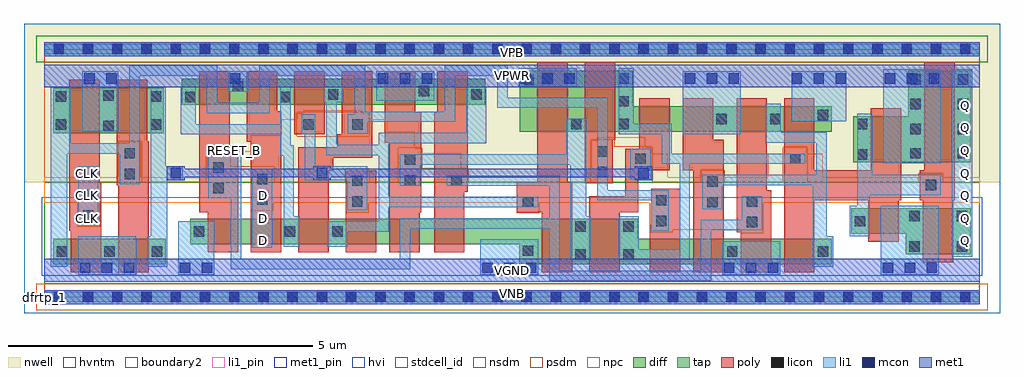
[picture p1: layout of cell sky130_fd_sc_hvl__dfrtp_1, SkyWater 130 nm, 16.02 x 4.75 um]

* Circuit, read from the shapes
.subckt sky130_fd_sc_hvl__dfrtp_1 CLK D Q RESET_B VGND VNB VPB VPWR
XM1 VGND CLK n1 VNB sky130_fd_pr__nfet_g5v0d10v5 w=0.42 l=0.5
XM2 n2 n1 VGND VNB sky130_fd_pr__nfet_g5v0d10v5 w=0.42 l=0.5
XM3 n3 RESET_B VGND VNB sky130_fd_pr__nfet_g5v0d10v5 w=0.42 l=0.5
XM4 n4 D n3 VNB sky130_fd_pr__nfet_g5v0d10v5 w=0.42 l=0.5
XM5 n5 n1 n4 VNB sky130_fd_pr__nfet_g5v0d10v5 w=0.42 l=0.5
XM6 n6 n2 n5 VNB sky130_fd_pr__nfet_g5v0d10v5 w=0.42 l=0.5
XM7 n7 n8 n6 VNB sky130_fd_pr__nfet_g5v0d10v5 w=0.42 l=0.5
XM8 VGND RESET_B n7 VNB sky130_fd_pr__nfet_g5v0d10v5 w=0.42 l=0.5
XM9 n8 n5 VGND VNB sky130_fd_pr__nfet_g5v0d10v5 w=0.75 l=0.5
XM10 n9 n2 n8 VNB sky130_fd_pr__nfet_g5v0d10v5 w=0.75 l=0.5
XM11 n10 n1 n9 VNB sky130_fd_pr__nfet_g5v0d10v5 w=0.42 l=0.5
XM12 VGND n11 n10 VNB sky130_fd_pr__nfet_g5v0d10v5 w=0.42 l=0.5
XM13 n12 RESET_B VGND VNB sky130_fd_pr__nfet_g5v0d10v5 w=0.42 l=0.5
XM14 n11 n9 n12 VNB sky130_fd_pr__nfet_g5v0d10v5 w=0.42 l=0.5
XM15 VGND n9 n13 VNB sky130_fd_pr__nfet_g5v0d10v5 w=0.42 l=0.5
XM16 Q n13 VGND VNB sky130_fd_pr__nfet_g5v0d10v5 w=0.75 l=0.5
XM17 VPWR CLK n1 VPB sky130_fd_pr__pfet_g5v0d10v5 w=0.75 l=0.5
XM18 n2 n1 VPWR VPB sky130_fd_pr__pfet_g5v0d10v5 w=0.75 l=0.5
XM19 VPWR RESET_B n4 VPB sky130_fd_pr__pfet_g5v0d10v5 w=0.42 l=0.5
XM20 n4 D VPWR VPB sky130_fd_pr__pfet_g5v0d10v5 w=0.42 l=0.5
XM21 n5 n2 n4 VPB sky130_fd_pr__pfet_g5v0d10v5 w=0.42 l=0.5
XM22 n14 n1 n5 VPB sky130_fd_pr__pfet_g5v0d10v5 w=0.42 l=0.5
XM23 VPWR n8 n14 VPB sky130_fd_pr__pfet_g5v0d10v5 w=0.42 l=0.5
XM24 n5 RESET_B VPWR VPB sky130_fd_pr__pfet_g5v0d10v5 w=0.42 l=0.5
XM25 n8 n5 VPWR VPB sky130_fd_pr__pfet_g5v0d10v5 w=1 l=0.5
XM26 n9 n1 n8 VPB sky130_fd_pr__pfet_g5v0d10v5 w=1 l=0.5
XM27 n15 n2 n9 VPB sky130_fd_pr__pfet_g5v0d10v5 w=0.42 l=0.5
XM28 VPWR n11 n15 VPB sky130_fd_pr__pfet_g5v0d10v5 w=0.42 l=0.5
XM29 n11 RESET_B VPWR VPB sky130_fd_pr__pfet_g5v0d10v5 w=0.42 l=0.5
XM30 VPWR n9 n11 VPB sky130_fd_pr__pfet_g5v0d10v5 w=0.42 l=0.5
XM31 VPWR n9 n13 VPB sky130_fd_pr__pfet_g5v0d10v5 w=0.75 l=0.5
XM32 Q n13 VPWR VPB sky130_fd_pr__pfet_g5v0d10v5 w=1.5 l=0.5
.ends

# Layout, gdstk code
import gdstk
lib = gdstk.Library(unit=1e-6, precision=1e-09)
def R(c, l, rs):  # rectangles x0, y0, x1, y1
    for r in rs: c.add(gdstk.rectangle(r[:2], r[2:], *l))
def A(c, l, x, y, w, h, nx, ny, dx, dy):  # array of equal rectangles
    R(c, l, [(x+i*dx, y+j*dy, x+i*dx+w, y+j*dy+h) for i in range(nx) for j in range(ny)])
def P(c, l, *ps):  # polygons
    for p in ps: c.add(gdstk.Polygon(p, *l))
nwell = (64, 20)
diff = (65, 20)
tap = (65, 44)
poly = (66, 20)
licon = (66, 44)
li1_pin = (67, 16)
li1 = (67, 20)
mcon = (67, 44)
met1_pin = (68, 16)
met1 = (68, 20)
hvi = (75, 20)
stdcell_id = (81, 4)
nsdm = (93, 44)
psdm = (94, 20)
npc = (95, 20)
hvntm = (125, 20)
boundary2 = (236, 0)

sky130_fd_sc_hvl__dfrtp_ = lib.new_cell('sky130_fd_sc_hvl__dfrtp_1')
R(sky130_fd_sc_hvl__dfrtp_, nwell, [(-0.33,1.885,15.69,4.485)])
R(sky130_fd_sc_hvl__dfrtp_, diff, [(0.15,0.535,2,0.955), (0.15,2.685,1.96,3.435), (2.26,3.16,7.24,3.58)])
P(sky130_fd_sc_hvl__dfrtp_, diff, [(7.81,2.715),(7.81,3.715),(9.66,3.715),(9.66,3.135),(12.93,3.135),(12.93,2.715)],
  [(7.8,0.535),(7.8,0.865),(2.4,0.865),(2.4,1.285),(9.74,1.285),(9.74,0.955),(12.93,0.955),(12.93,0.535)],
  [(13.285,2.215),(13.285,2.965),(14.18,2.965),(14.18,3.715),(15.21,3.715),(15.21,2.215)],
  [(14.14,0.705),(14.14,1.035),(13.245,1.035),(13.245,1.455),(15.21,1.455),(15.21,0.705)])
R(sky130_fd_sc_hvl__dfrtp_, tap, [(0,-0.085,15.36,0.085), (0,3.985,15.36,4.155)])
R(sky130_fd_sc_hvl__dfrtp_, poly, [(4.955,0.735,5.455,2.075), (4.105,2.67,4.605,3.71)])
P(sky130_fd_sc_hvl__dfrtp_, poly, [(0.435,0.405),(0.435,1.085),(0.415,1.085),(0.415,3.565),(0.915,3.565),(0.915,1.865),(0.935,1.865),(0.935,0.405)],
  [(1.215,0.405),(1.215,1.835),(1.195,1.835),(1.195,3.565),(1.695,3.565),(1.695,2.555),(1.715,2.555),(1.715,0.405)],
  [(2.685,0.735),(2.685,1.395),(2.545,1.395),(2.545,3.71),(3.045,3.71),(3.045,2.31),(3.185,2.31),(3.185,0.735)],
  [(3.395,0.735),(3.395,2.55),(3.325,2.55),(3.325,3.71),(3.825,3.71),(3.825,3.05),(3.895,3.05),(3.895,0.735)],
  [(4.175,0.735),(4.175,2.46),(4.815,2.46),(4.815,2.67),(4.885,2.67),(4.885,3.71),(5.385,3.71),(5.385,2.285),(4.745,2.285),(4.745,2.075),(4.675,2.075),(4.675,0.735)],
  [(5.665,0.735),(5.665,2.53),(5.595,2.53),(5.595,3.71),(6.095,3.71),(6.095,3.03),(6.19,3.03),(6.19,1.395),(6.165,1.395),(6.165,0.735)],
  [(6.4,0.735),(6.4,3.03),(6.455,3.03),(6.455,3.71),(6.955,3.71),(6.955,1.725),(6.9,1.725),(6.9,0.735)],
  [(8.165,0.405),(8.165,1.395),(7.76,1.395),(7.76,1.895),(8.095,1.895),(8.095,3.845),(8.595,3.845),(8.595,1.895),(8.665,1.895),(8.665,0.405)],
  [(8.875,1.865),(8.875,3.845),(9.375,3.845),(9.375,2.585),(9.33,2.585),(9.33,1.865)],
  [(8.945,0.405),(8.945,1.655),(9.54,1.655),(9.54,2.435),(9.77,2.435),(9.77,3.265),(10.27,3.265),(10.27,2.085),(9.755,2.085),(9.755,1.395),(9.445,1.395),(9.445,0.405)],
  [(9.945,0.405),(9.945,1.185),(9.965,1.185),(9.965,1.775),(10.445,1.775),(10.445,0.405)],
  [(10.655,0.405),(10.655,2.085),(10.48,2.085),(10.48,3.265),(10.98,3.265),(10.98,2.585),(11.155,2.585),(11.155,0.405)],
  [(11.435,0.405),(11.435,1.065),(11.365,1.065),(11.365,3.265),(11.865,3.265),(11.865,1.755),(11.935,1.755),(11.935,0.405)],
  [(12.145,0.405),(12.145,3.265),(12.645,3.265),(12.645,2.085),(13.57,2.085),(13.57,3.095),(14.07,3.095),(14.07,1.585),(14.03,1.585),(14.03,0.905),(13.53,0.905),(13.53,1.585),(12.645,1.585),(12.645,0.405)],
  [(14.425,0.575),(14.425,1.585),(14.37,1.585),(14.37,2.085),(14.445,2.085),(14.445,3.845),(14.945,3.845),(14.945,1.585),(14.925,1.585),(14.925,0.575)])
A(sky130_fd_sc_hvl__dfrtp_, licon, 0.155, -0.085, 0.17, 0.17, 32, 2, 0.48, 4.07)
A(sky130_fd_sc_hvl__dfrtp_, licon, 0.21, 0.66, 0.17, 0.17, 3, 1, 0.78, 0)
A(sky130_fd_sc_hvl__dfrtp_, licon, 9.43, 2.755, 0.17, 0.17, 1, 3, 0, 0.375)
R(sky130_fd_sc_hvl__dfrtp_, licon, [(8.72,0.615,8.89,0.785), (9.51,0.615,9.68,0.785), (11.21,0.66,11.38,0.83), (12.7,0.66,12.87,0.83), (7.86,0.675,8.03,0.845), (14.2,0.745,14.37,0.915), (14.98,0.745,15.15,0.915), (2.46,0.99,2.63,1.16), (3.95,0.99,4.12,1.16), (4.73,0.99,4.9,1.16), (8.72,1.075,8.89,1.245), (9.51,1.075,9.68,1.245), (11.535,1.145,11.705,1.315), (13.305,1.16,13.475,1.33), (10.045,1.165,10.215,1.335), (14.2,1.245,14.37,1.415), (14.98,1.245,15.15,1.415), (0.64,1.255,0.81,1.425), (10.885,1.47,11.055,1.64), (7.86,1.475,8.03,1.645), (5.055,1.485,5.225,1.655), (11.535,1.485,11.705,1.655), (10.045,1.505,10.215,1.675), (3.495,1.515,3.665,1.685), (0.64,1.595,0.81,1.765), (2.775,1.7,2.945,1.87), (14.47,1.755,14.64,1.925), (10.885,1.81,11.055,1.98), (5.055,1.825,5.225,1.995), (6.685,1.825,6.855,1.995), (5.92,1.83,6.09,2), (3.495,1.855,3.665,2.025), (1.32,1.935,1.49,2.105), (9.08,1.965,9.25,2.135), (2.775,2.04,2.945,2.21), (5.92,2.17,6.09,2.34), (9.705,2.185,9.875,2.355), (12.245,2.185,12.415,2.355), (13.345,2.255,13.515,2.425), (1.32,2.275,1.49,2.445), (14.22,2.275,14.39,2.445), (15,2.275,15.17,2.445), (9.08,2.305,9.25,2.475), (14.22,2.675,14.39,2.845), (15,2.675,15.17,2.845), (0.97,2.725,1.14,2.895), (0.19,2.745,0.36,2.915), (1.75,2.745,1.92,2.915), (4.255,2.75,4.425,2.92), (5.06,2.75,5.23,2.92), (8.65,2.755,8.82,2.925), (13.345,2.755,13.515,2.925), (11.035,2.84,11.205,3.01), (11.92,2.84,12.09,3.01), (12.7,2.905,12.87,3.075), (14.22,3.085,14.39,3.255), (15,3.085,15.17,3.255), (2.32,3.2,2.49,3.37), (3.88,3.2,4.05,3.37), (0.19,3.205,0.36,3.375), (1.75,3.205,1.92,3.375), (0.97,3.225,1.14,3.395), (4.66,3.24,4.83,3.41), (7.01,3.24,7.18,3.41), (6.15,3.295,6.32,3.465), (3.1,3.37,3.27,3.54), (7.87,3.48,8.04,3.65), (14.22,3.485,14.39,3.655), (15,3.485,15.17,3.655)])
A(sky130_fd_sc_hvl__dfrtp_, li1_pin, 3.515, 0.84, 0.17, 0.17, 1, 3, 0, 0.37)
A(sky130_fd_sc_hvl__dfrtp_, li1_pin, 15.035, 0.84, 0.17, 0.17, 1, 7, 0, 0.37)
A(sky130_fd_sc_hvl__dfrtp_, li1_pin, 0.635, 1.21, 0.17, 0.17, 1, 3, 0, 0.37)
R(sky130_fd_sc_hvl__dfrtp_, li1_pin, [(3.035,2.32,3.205,2.49)])
R(sky130_fd_sc_hvl__dfrtp_, li1, [(0,-0.085,15.36,0.085), (0.56,0.365,1.51,0.995), (2.2,0.365,2.79,1.245), (7.16,0.365,8.11,0.945), (11.13,0.365,12.08,0.915), (13.735,0.365,14.685,1.495), (14.9,0.665,15.235,3.735), (3.415,0.81,3.745,2.105), (0.56,1.175,0.89,2.15), (9.625,1.935,9.955,2.435), (13.775,2.195,14.72,3.735), (10.485,2.675,11.435,3.705), (0.63,2.725,1.22,3.705), (12.27,2.885,13.165,3.705), (5.45,3.225,6.4,3.705), (3.02,3.37,3.35,3.705), (7.79,3.455,8.74,3.755), (0,3.985,15.36,4.155)])
P(sky130_fd_sc_hvl__dfrtp_, li1, [(0.11,0.495),(0.11,3.455),(0.44,3.455),(0.44,2.525),(1.4,2.525),(1.4,3.805),(2.84,3.805),(2.84,3.19),(3.53,3.19),(3.53,3.805),(5.27,3.805),(5.27,3.045),(6.58,3.045),(6.58,3.805),(7.61,3.805),(7.61,3.275),(9.25,3.275),(9.25,1.755),(10.25,1.755),(10.25,1.085),(9.965,1.085),(9.965,1.585),(9.08,1.585),(9.08,3.105),(7.44,3.105),(7.44,3.635),(6.75,3.635),(6.75,2.875),(5.31,2.875),(5.31,2.68),(4.98,2.68),(4.98,3),(5.1,3),(5.1,3.635),(3.7,3.635),(3.7,3.02),(2.67,3.02),(2.67,3.635),(1.57,3.635),(1.57,1.855),(1.24,1.855),(1.24,2.355),(0.38,2.355),(0.38,0.495)],
  [(8.29,0.265),(8.29,1.125),(6.01,1.125),(6.01,0.46),(3.065,0.46),(3.065,1.62),(2.695,1.62),(2.695,2.49),(3.235,2.49),(3.235,0.63),(5.84,0.63),(5.84,1.295),(8.29,1.295),(8.29,1.825),(6.605,1.825),(6.605,1.995),(8.46,1.995),(8.46,0.435),(10.78,0.435),(10.78,1.265),(11.455,1.265),(11.455,1.655),(11.785,1.655),(11.785,1.095),(10.95,1.095),(10.95,0.265)],
  [(9.43,0.615),(9.43,1.325),(9.76,1.325),(9.76,0.785),(10.43,0.785),(10.43,2.185),(10.135,2.185),(10.135,2.675),(9.43,2.675),(9.43,3.755),(9.68,3.755),(9.68,2.845),(10.305,2.845),(10.305,2.355),(12.495,2.355),(12.495,2.185),(10.6,2.185),(10.6,0.615)],
  [(12.62,0.495),(12.62,1.835),(11.135,1.835),(11.135,1.445),(10.805,1.445),(10.805,2.005),(12.675,2.005),(12.675,2.535),(11.84,2.535),(11.84,3.175),(12.09,3.175),(12.09,2.705),(12.845,2.705),(12.845,0.995),(12.95,0.995),(12.95,0.495)],
  [(13.225,0.995),(13.225,1.495),(13.345,1.495),(13.345,3.005),(13.595,3.005),(13.595,2.005),(14.72,2.005),(14.72,1.675),(13.555,1.675),(13.555,0.995)],
  [(1.69,0.495),(1.69,0.995),(1.75,0.995),(1.75,3.455),(2,3.455),(2,2.15),(2.275,2.15),(2.275,1.92),(2.02,1.92),(2.02,0.495)],
  [(3.93,0.825),(3.93,2.32),(3.88,2.32),(3.88,2.67),(2.24,2.67),(2.24,3.455),(2.49,3.455),(2.49,2.84),(3.88,2.84),(3.88,3.455),(4.05,3.455),(4.05,2.49),(4.1,2.49),(4.1,1.325),(4.2,1.325),(4.2,0.825)],
  [(4.975,1.425),(4.975,1.92),(4.28,1.92),(4.28,2.67),(4.23,2.67),(4.23,3),(4.45,3),(4.45,2.15),(5.305,2.15),(5.305,1.425)],
  [(4.65,0.825),(4.65,1.245),(5.49,1.245),(5.49,2.33),(4.63,2.33),(4.63,3.2),(4.58,3.2),(4.58,3.455),(4.91,3.455),(4.91,3.2),(4.8,3.2),(4.8,2.5),(5.49,2.5),(5.49,2.695),(6.93,2.695),(6.93,3.455),(7.26,3.455),(7.26,2.525),(5.66,2.525),(5.66,1.645),(8.11,1.645),(8.11,1.475),(5.66,1.475),(5.66,1.075),(4.98,1.075),(4.98,0.825)],
  [(8.64,0.615),(8.64,2.175),(6.17,2.175),(6.17,1.825),(5.84,1.825),(5.84,2.345),(8.57,2.345),(8.57,2.925),(8.9,2.925),(8.9,1.325),(8.97,1.325),(8.97,0.615)])
A(sky130_fd_sc_hvl__dfrtp_, mcon, 2.075, -0.085, 0.17, 0.17, 1, 3, 0, 2.035)
A(sky130_fd_sc_hvl__dfrtp_, mcon, 4.475, -0.085, 0.17, 0.17, 1, 3, 0, 2.035)
A(sky130_fd_sc_hvl__dfrtp_, mcon, 9.755, -0.085, 0.17, 0.17, 1, 3, 0, 2.035)
A(sky130_fd_sc_hvl__dfrtp_, mcon, 0.59, 0.395, 0.17, 0.17, 3, 1, 0.36, 0)
A(sky130_fd_sc_hvl__dfrtp_, mcon, 7.19, 0.395, 0.17, 0.17, 3, 1, 0.36, 0)
A(sky130_fd_sc_hvl__dfrtp_, mcon, 11.16, 0.395, 0.17, 0.17, 3, 1, 0.36, 0)
A(sky130_fd_sc_hvl__dfrtp_, mcon, 13.765, 0.395, 0.17, 0.17, 3, 1, 0.36, 0)
A(sky130_fd_sc_hvl__dfrtp_, mcon, 5.48, 3.505, 0.17, 0.17, 3, 1, 0.36, 0)
A(sky130_fd_sc_hvl__dfrtp_, mcon, 7.82, 3.505, 0.17, 0.17, 3, 1, 0.36, 0)
A(sky130_fd_sc_hvl__dfrtp_, mcon, 10.515, 3.505, 0.17, 0.17, 3, 1, 0.36, 0)
A(sky130_fd_sc_hvl__dfrtp_, mcon, 12.27, 3.505, 0.17, 0.17, 3, 1, 0.36, 0)
A(sky130_fd_sc_hvl__dfrtp_, mcon, 13.8, 3.505, 0.17, 0.17, 3, 1, 0.36, 0)
R(sky130_fd_sc_hvl__dfrtp_, mcon, [(0.155,-0.085,0.325,0.085), (0.155,-0.085,0.325,0.085), (0.635,-0.085,0.805,0.085), (0.635,-0.085,0.805,0.085), (1.115,-0.085,1.285,0.085), (1.115,-0.085,1.285,0.085), (1.595,-0.085,1.765,0.085), (1.595,-0.085,1.765,0.085), (2.075,-0.085,2.245,0.085), (2.555,-0.085,2.725,0.085), (2.555,-0.085,2.725,0.085), (3.035,-0.085,3.205,0.085), (3.035,-0.085,3.205,0.085), (3.515,-0.085,3.685,0.085), (3.515,-0.085,3.685,0.085), (3.995,-0.085,4.165,0.085), (3.995,-0.085,4.165,0.085), (4.475,-0.085,4.645,0.085), (4.955,-0.085,5.125,0.085), (4.955,-0.085,5.125,0.085), (5.435,-0.085,5.605,0.085), (5.435,-0.085,5.605,0.085), (5.915,-0.085,6.085,0.085), (5.915,-0.085,6.085,0.085), (6.395,-0.085,6.565,0.085), (6.395,-0.085,6.565,0.085), (6.875,-0.085,7.045,0.085), (6.875,-0.085,7.045,0.085), (7.355,-0.085,7.525,0.085), (7.355,-0.085,7.525,0.085), (7.835,-0.085,8.005,0.085), (7.835,-0.085,8.005,0.085), (8.315,-0.085,8.485,0.085), (8.315,-0.085,8.485,0.085), (8.795,-0.085,8.965,0.085), (8.795,-0.085,8.965,0.085), (9.275,-0.085,9.445,0.085), (9.275,-0.085,9.445,0.085), (9.755,-0.085,9.925,0.085), (10.235,-0.085,10.405,0.085), (10.235,-0.085,10.405,0.085), (10.715,-0.085,10.885,0.085), (10.715,-0.085,10.885,0.085), (11.195,-0.085,11.365,0.085), (11.195,-0.085,11.365,0.085), (11.675,-0.085,11.845,0.085), (11.675,-0.085,11.845,0.085), (12.155,-0.085,12.325,0.085), (12.155,-0.085,12.325,0.085), (12.635,-0.085,12.805,0.085), (12.635,-0.085,12.805,0.085), (13.115,-0.085,13.285,0.085), (13.115,-0.085,13.285,0.085), (13.595,-0.085,13.765,0.085), (13.595,-0.085,13.765,0.085), (14.075,-0.085,14.245,0.085), (14.075,-0.085,14.245,0.085), (14.555,-0.085,14.725,0.085), (14.555,-0.085,14.725,0.085), (15.035,-0.085,15.205,0.085), (15.035,-0.085,15.205,0.085), (2.23,0.395,2.4,0.565), (2.59,0.395,2.76,0.565), (0.66,3.505,0.83,3.675), (1.02,3.505,1.19,3.675), (3.05,3.505,3.22,3.675), (0.155,3.985,0.325,4.155), (0.155,3.985,0.325,4.155), (0.635,3.985,0.805,4.155), (0.635,3.985,0.805,4.155), (1.115,3.985,1.285,4.155), (1.115,3.985,1.285,4.155), (1.595,3.985,1.765,4.155), (1.595,3.985,1.765,4.155), (2.075,3.985,2.245,4.155), (2.555,3.985,2.725,4.155), (2.555,3.985,2.725,4.155), (3.035,3.985,3.205,4.155), (3.035,3.985,3.205,4.155), (3.515,3.985,3.685,4.155), (3.515,3.985,3.685,4.155), (3.995,3.985,4.165,4.155), (3.995,3.985,4.165,4.155), (4.475,3.985,4.645,4.155), (4.955,3.985,5.125,4.155), (4.955,3.985,5.125,4.155), (5.435,3.985,5.605,4.155), (5.435,3.985,5.605,4.155), (5.915,3.985,6.085,4.155), (5.915,3.985,6.085,4.155), (6.395,3.985,6.565,4.155), (6.395,3.985,6.565,4.155), (6.875,3.985,7.045,4.155), (6.875,3.985,7.045,4.155), (7.355,3.985,7.525,4.155), (7.355,3.985,7.525,4.155), (7.835,3.985,8.005,4.155), (7.835,3.985,8.005,4.155), (8.315,3.985,8.485,4.155), (8.315,3.985,8.485,4.155), (8.795,3.985,8.965,4.155), (8.795,3.985,8.965,4.155), (9.275,3.985,9.445,4.155), (9.275,3.985,9.445,4.155), (9.755,3.985,9.925,4.155), (10.235,3.985,10.405,4.155), (10.235,3.985,10.405,4.155), (10.715,3.985,10.885,4.155), (10.715,3.985,10.885,4.155), (11.195,3.985,11.365,4.155), (11.195,3.985,11.365,4.155), (11.675,3.985,11.845,4.155), (11.675,3.985,11.845,4.155), (12.155,3.985,12.325,4.155), (12.155,3.985,12.325,4.155), (12.635,3.985,12.805,4.155), (12.635,3.985,12.805,4.155), (13.115,3.985,13.285,4.155), (13.115,3.985,13.285,4.155), (13.595,3.985,13.765,4.155), (13.595,3.985,13.765,4.155), (14.075,3.985,14.245,4.155), (14.075,3.985,14.245,4.155), (14.555,3.985,14.725,4.155), (14.555,3.985,14.725,4.155), (15.035,3.985,15.205,4.155), (15.035,3.985,15.205,4.155)])
R(sky130_fd_sc_hvl__dfrtp_, met1_pin, [(0,0,15.36,0.115), (0,0.255,15.36,0.625), (0,3.445,15.36,3.815), (0,3.955,15.36,4.07)])
R(sky130_fd_sc_hvl__dfrtp_, met1, [(0,-0.115,15.36,0.115), (0,0.255,15.36,0.625), (0,3.445,15.36,3.815), (0,3.955,15.36,4.185)])
P(sky130_fd_sc_hvl__dfrtp_, met1, [(2.015,1.92),(2.015,2.15),(2.305,2.15),(2.305,2.105),(4.415,2.105),(4.415,2.15),(4.705,2.15),(4.705,2.105),(9.695,2.105),(9.695,2.15),(9.985,2.15),(9.985,1.92),(9.695,1.92),(9.695,1.965),(4.705,1.965),(4.705,1.92),(4.415,1.92),(4.415,1.965),(2.305,1.965),(2.305,1.92)])
R(sky130_fd_sc_hvl__dfrtp_, hvi, [(-0.33,-0.265,15.69,4.485)])
R(sky130_fd_sc_hvl__dfrtp_, stdcell_id, [(0,0,15.36,4.07)])
R(sky130_fd_sc_hvl__dfrtp_, nsdm, [(0,0.215,15.36,1.885), (-0.13,3.855,15.49,4.285), (0,3.855,15.36,4.07)])
R(sky130_fd_sc_hvl__dfrtp_, psdm, [(-0.13,-0.215,15.49,0.215)])
P(sky130_fd_sc_hvl__dfrtp_, psdm, [(0,1.885),(0,3.855),(5.34,3.855),(5.34,3.03),(4.145,3.03),(4.145,2.64),(5.34,2.64),(5.34,3.855),(15.36,3.855),(15.36,1.885),(14.75,1.885),(14.75,2.035),(14.36,2.035),(14.36,1.885),(12.525,1.885),(12.525,2.465),(12.135,2.465),(12.135,1.885),(11.165,1.885),(11.165,2.09),(10.775,2.09),(10.775,1.885),(9.985,1.885),(9.985,2.465),(9.36,2.465),(9.36,2.585),(8.97,2.585),(8.97,1.885),(6.965,1.885),(6.965,2.105),(6.2,2.105),(6.2,2.45),(5.81,2.45),(5.81,1.885),(5.335,1.885),(5.335,2.105),(4.945,2.105),(4.945,1.885),(3.775,1.885),(3.775,2.135),(3.055,2.135),(3.055,2.32),(2.665,2.32),(2.665,1.885),(1.6,1.885),(1.6,2.555),(1.21,2.555),(1.21,1.885)])
P(sky130_fd_sc_hvl__dfrtp_, npc, [(11.435,1.045),(11.435,1.105),(10.315,1.105),(10.315,1.065),(9.945,1.065),(9.945,1.545),(8.13,1.545),(8.13,1.375),(7.76,1.375),(7.76,1.545),(5.325,1.545),(5.325,1.385),(4.955,1.385),(4.955,1.545),(3.765,1.545),(3.765,1.415),(3.395,1.415),(3.395,1.545),(0.91,1.545),(0.91,1.155),(0.54,1.155),(0.54,1.545),(0,1.545),(0,1.97),(1.22,1.97),(1.22,2.545),(1.59,2.545),(1.59,1.97),(2.675,1.97),(2.675,2.31),(2.78,2.31),(2.78,2.39),(3.395,2.39),(3.395,2.655),(3.89,2.655),(3.89,2.915),(4.155,2.915),(4.155,3.02),(4.26,3.02),(4.26,3.07),(5.225,3.07),(5.225,3.02),(5.33,3.02),(5.33,2.915),(5.595,2.915),(5.595,2.705),(6.085,2.705),(6.085,2.44),(6.19,2.44),(6.19,2.36),(6.85,2.36),(6.85,2.095),(6.955,2.095),(6.955,1.97),(8.98,1.97),(8.98,2.575),(9.085,2.575),(9.085,2.625),(9.87,2.625),(9.87,2.455),(9.975,2.455),(9.975,2.35),(10.24,2.35),(10.24,1.97),(10.785,1.97),(10.785,2.08),(11.155,2.08),(11.155,1.97),(11.88,1.97),(11.88,2.35),(12.145,2.35),(12.145,2.455),(12.515,2.455),(12.515,2.35),(12.78,2.35),(12.78,1.97),(14.37,1.97),(14.37,2.025),(14.74,2.025),(14.74,1.97),(15.36,1.97),(15.36,1.545),(11.805,1.545),(11.805,1.045)])
R(sky130_fd_sc_hvl__dfrtp_, hvntm, [(-0.035,0.35,15.395,1.64)])
R(sky130_fd_sc_hvl__dfrtp_, boundary2, [(0,0,15.36,4.07)])
sky130_fd_sc_hvl__dfrtp_.add(gdstk.Label('dfrtp_1', (0,0), layer=83, texttype=44))
sky130_fd_sc_hvl__dfrtp_.add(gdstk.Label('VGND', (7.68,0.44), layer=68, texttype=5))
sky130_fd_sc_hvl__dfrtp_.add(gdstk.Label('VNB', (7.68,0.058), layer=68, texttype=5))
sky130_fd_sc_hvl__dfrtp_.add(gdstk.Label('VPWR', (7.68,3.63), layer=68, texttype=5))
sky130_fd_sc_hvl__dfrtp_.add(gdstk.Label('VPB', (7.68,4.013), layer=68, texttype=5))
sky130_fd_sc_hvl__dfrtp_.add(gdstk.Label('D', (3.6,0.925), layer=67, texttype=5))
sky130_fd_sc_hvl__dfrtp_.add(gdstk.Label('D', (3.6,1.295), layer=67, texttype=5))
sky130_fd_sc_hvl__dfrtp_.add(gdstk.Label('D', (3.6,1.665), layer=67, texttype=5))
sky130_fd_sc_hvl__dfrtp_.add(gdstk.Label('CLK', (0.72,1.295), layer=67, texttype=5))
sky130_fd_sc_hvl__dfrtp_.add(gdstk.Label('CLK', (0.72,1.665), layer=67, texttype=5))
sky130_fd_sc_hvl__dfrtp_.add(gdstk.Label('CLK', (0.72,2.035), layer=67, texttype=5))
sky130_fd_sc_hvl__dfrtp_.add(gdstk.Label('RESET_B', (3.12,2.405), layer=67, texttype=5))
sky130_fd_sc_hvl__dfrtp_.add(gdstk.Label('Q', (15.12,0.925), layer=67, texttype=5))
sky130_fd_sc_hvl__dfrtp_.add(gdstk.Label('Q', (15.12,1.295), layer=67, texttype=5))
sky130_fd_sc_hvl__dfrtp_.add(gdstk.Label('Q', (15.12,1.665), layer=67, texttype=5))
sky130_fd_sc_hvl__dfrtp_.add(gdstk.Label('Q', (15.12,2.035), layer=67, texttype=5))
sky130_fd_sc_hvl__dfrtp_.add(gdstk.Label('Q', (15.12,2.405), layer=67, texttype=5))
sky130_fd_sc_hvl__dfrtp_.add(gdstk.Label('Q', (15.12,2.775), layer=67, texttype=5))
sky130_fd_sc_hvl__dfrtp_.add(gdstk.Label('Q', (15.12,3.145), layer=67, texttype=5))

lib.write_gds('sky130_fd_sc_hvl__dfrtp_1.gds')
